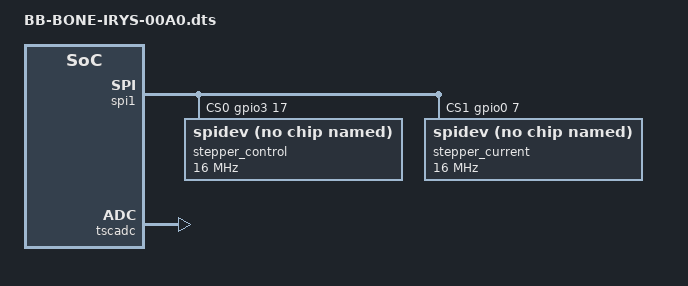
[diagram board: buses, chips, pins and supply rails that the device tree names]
/*
 * This program is free software; you can redistribute it and/or modify
 * it under the terms of the GNU General Public License version 2 as
 * published by the Free Software Foundation.
 */


/dts-v1/;
/plugin/;

/ {
    compatible = "ti,beaglebone", "ti,beaglebone-black";

    /* identification */
    part-number = "BB-BONE-IRYS";
    version = "00A0";

    /* state the resources this cape uses */
    exclusive-use =


        /* the pin header P9 uses */
        "P9.28", /* SPI1_CS0 	*/
        "P9.29", /* SPI1_MISO   */
        "P9.30", /* SPI1_MOSI	*/
        "P9.31", /* SPI1_SCLK	*/
        "P9.33", /* AIN4        */
        "P9.35", /* AIN6        */
        "P9.36", /* AIN5        */
        "P9.42"; /* SPI1_CS1	*/

    fragment@0 {
        target = <&am33xx_pinmux>;
        __overlay__ {
            bone_spi1_pins: pinmux_spi1_pins {
                pinctrl-single,pins = <
                    0x190 0x13	/* P9_31 = mcasp0_aclkx.spi1_sclk				 , OUTPUT_PULLUP | MODE3 */
                    0x194 0x33	/* P9_29 = mcasp0_fsx.spi1_d0					 , INPUT_PULLUP  | MODE3 */
                    0x198 0x13	/* P9_30 = mcasp0_axr0.spi1_d1					 , OUTPUT_PULLUP | MODE3 */
                    0x19c 0x13	/* P9_28 = mcasp0_ahclkr.spi1_cs0				 , OUTPUT_PULLUP | MODE3 */					
                    0x164 0x12  /* P9_42 = GPIO0_7 =  eCAP0_in_PWM0_out.gpio0[7] , OUTPUT_PULLUP | MODE2 */
                >;
            };					
        };
    };

    fragment@1 {
        target = <&spi1>;
        __overlay__ {
            #address-cells 	= <1>;
            #size-cells 	= <0>;
            status			= "okay";
            pinctrl-names	= "default";
            pinctrl-0		= <&bone_spi1_pins>;	
            cs-gpios 		= <&gpio3 17 0>, <&gpio0 7 0>;

            stepper_control{
                #address-cells 	  = <1>;
                #size-cells 	  = <0>;
                compatible 		  = "spidev";
                reg 			  = <0>;
                spi-max-frequency = <16000000>;
                spi-cpha;		  // Stepper control has mode 1 (CPOL = 0, CPHA = 1)
            };

            stepper_current{
                #address-cells 	  = <1>;
                #size-cells 	  = <0>;
                compatible 		  = "spidev";
                reg 			  = <1>;
                spi-max-frequency = <16000000>;
                   				  // Stepper current has mode 0 (CPOL = 0, CPHA = 0)
            };
        };
    };

    fragment@3 {
        target = <&tscadc>;
        __overlay__ {			
            status = "okay";
            adc {
                ti,adc-channels = <4 5 6 >;
            };
        };
    };
};
